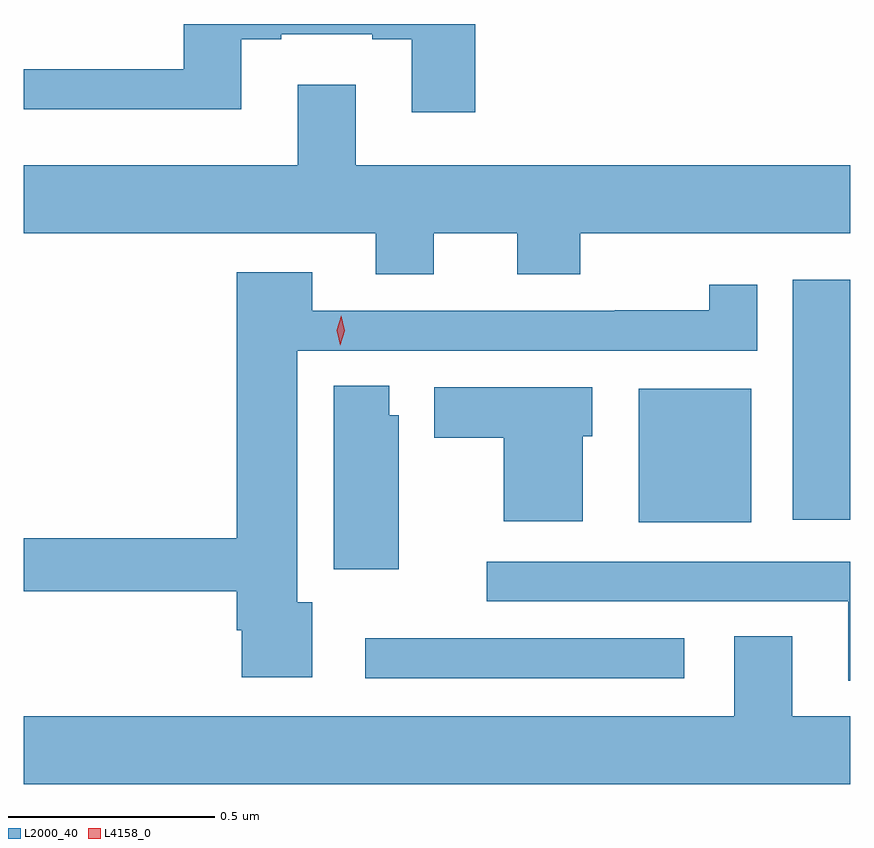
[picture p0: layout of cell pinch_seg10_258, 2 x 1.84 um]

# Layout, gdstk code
import gdstk
lib = gdstk.Library(unit=1e-6, precision=1e-09)
def R(c, l, rs):  # rectangles x0, y0, x1, y1
    for r in rs: c.add(gdstk.rectangle(r[:2], r[2:], *l))
def P(c, l, *ps):  # polygons
    for p in ps: c.add(gdstk.Polygon(p, *l))
L2000_40 = (2000, 40)
L4158_0 = (4158, 0)

pinch_seg10_258 = lib.new_cell('pinch_seg10_258')
R(pinch_seg10_258, L2000_40, [(592.566,1296.576,593.338,1296.672), (593.228,1296.953,593.5,1297.276), (593.6,1296.959,593.74,1297.54)])
P(pinch_seg10_258, L2000_40, [(592.832,1298.158),(592.127,1298.158),(592.127,1298.049),(591.74,1298.049),(591.74,1297.952),(592.267,1297.952),(592.267,1298.121),(592.363,1298.121),(592.363,1298.133),(592.583,1298.133),(592.583,1298.121),(592.679,1298.121),(592.679,1297.944),(592.832,1297.944)],
  [(592.732,1297.652),(592.934,1297.652),(592.934,1297.553),(593.087,1297.553),(593.087,1297.652),(593.74,1297.652),(593.74,1297.816),(592.543,1297.816),(592.543,1298.011),(592.403,1298.011),(592.403,1297.816),(591.74,1297.816),(591.74,1297.652),(592.592,1297.652),(592.592,1297.553),(592.732,1297.553)],
  [(592.438,1296.76),(592.402,1296.76),(592.402,1297.368),(593.515,1297.368),(593.515,1297.528),(593.398,1297.528),(593.398,1297.466),(593.17,1297.466),(593.17,1297.464),(592.438,1297.464),(592.438,1297.558),(592.256,1297.558),(592.256,1296.914),(591.74,1296.914),(591.74,1296.786),(592.256,1296.786),(592.256,1296.692),(592.268,1296.692),(592.268,1296.578),(592.438,1296.578)],
  [(592.648,1297.212),(592.624,1297.212),(592.624,1297.283),(592.49,1297.283),(592.49,1296.839),(592.648,1296.839)],
  [(593.092,1297.161),(593.116,1297.161),(593.116,1297.279),(592.733,1297.279),(592.733,1297.157),(592.901,1297.157),(592.901,1296.956),(593.092,1296.956)],
  [(593.74,1296.858),(592.86,1296.858),(592.86,1296.762),(593.735,1296.762),(593.735,1296.57),(593.74,1296.57)],
  [(593.74,1296.484),(593.599,1296.484),(593.599,1296.677),(593.459,1296.677),(593.459,1296.484),(591.74,1296.484),(591.74,1296.32),(593.74,1296.32)])
P(pinch_seg10_258, L4158_0, [(592.506,1297.381),(592.506,1297.381),(592.497,1297.417),(592.509,1297.453),(592.509,1297.453),(592.509,1297.453),(592.517,1297.416),(592.506,1297.381)])

lib.write_gds('pinch_seg10_258.gds')
